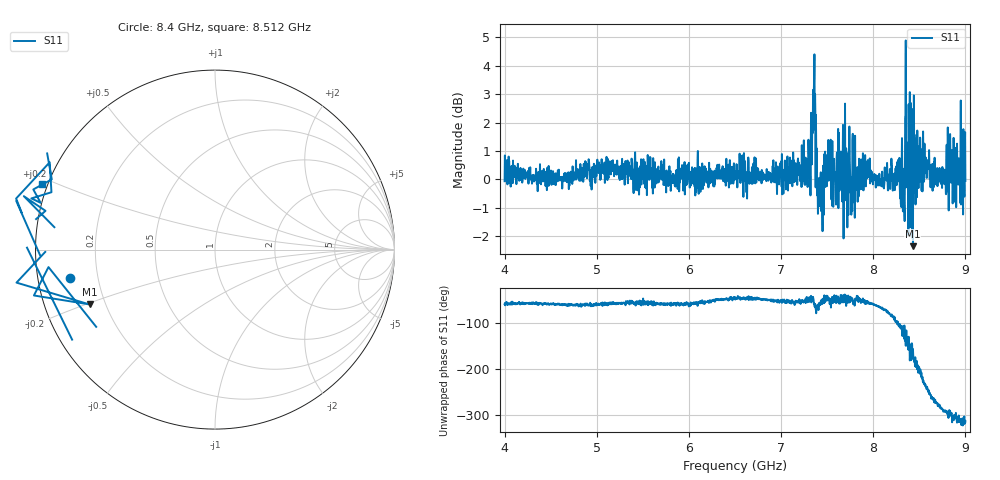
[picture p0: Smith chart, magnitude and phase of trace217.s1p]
! Created with skrf 1.8.0 (http://scikit-rf.org).
# Hz S RI R 50.0
!freq ReS11 ImS11
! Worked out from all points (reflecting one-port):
!   1601 points, 4 GHz to 9 GHz, reference 50 ohm
!   lowest |S11| = -2.3 dB at 8.431 GHz (marker M1), VSWR 7.44, Z = 7.01 - j10.2 ohm
!   phase of S11 starts at -59 deg and turns -254 deg over the sweep
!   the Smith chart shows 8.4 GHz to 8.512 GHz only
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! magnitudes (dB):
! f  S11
! 4 GHz  -0.1
! 4.625 GHz  -0.3
! 5.25 GHz  0.0
! 5.875 GHz  0.1
! 6.5 GHz  0.2
! 7.125 GHz  0.4
! 7.297 GHz  1.4
! 7.319 GHz  -0.6
! 7.347 GHz  3.2
! 7.372 GHz  2.3
! 7.4 GHz  -1.2
! 7.425 GHz  -0.4
! 7.491 GHz  0.2
! 7.572 GHz  0.3
! 7.669 GHz  0.8
! 7.75 GHz  0.1
! 7.775 GHz  1.4
! 7.862 GHz  -0.3
! 8.097 GHz  0.3
! 8.262 GHz  -0.1
! 8.316 GHz  -0.1
! 8.328 GHz  -0.4
! 8.375 GHz  0.5
! 8.406 GHz  1.2
! 8.431 GHz  -2.3
! 8.766 GHz  0.3
! 8.972 GHz  0.1
! 9 GHz  -0.1
